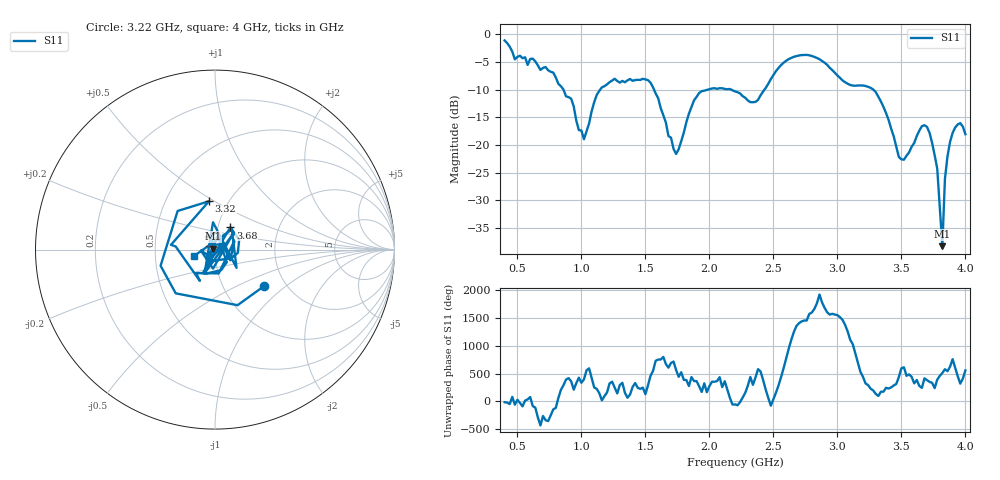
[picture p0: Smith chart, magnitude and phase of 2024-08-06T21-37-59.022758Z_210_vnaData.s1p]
!Created with skrf (http://scikit-rf.org).
# Hz S RI R 50.0
!freq ReS11 ImS11
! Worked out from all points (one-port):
!   181 points, 400 MHz to 4 GHz, reference 50 ohm
!   lowest |S11| = -38.3 dB at 3.82 GHz (marker M1), VSWR 1.02, Z = 48.9 + j0.572 ohm
!   |S11| at or under -10 dB: 859.7 MHz to 1.147 GHz (287.6 MHz wide, 28.7 % of centre); 1.567 GHz to 1.99 GHz (423.1 MHz wide, 23.8 % of centre); 3.28 GHz to end of sweep (the widest 3 of 4)
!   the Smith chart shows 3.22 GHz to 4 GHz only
!   S11 on the Smith chart (normalised r, x): 3.22 GHz: 1.55, -0.72; 3.32 GHz: 0.81, +0.47; 3.68 GHz: 1.15, +0.29; 4 GHz: 0.79, -0.06
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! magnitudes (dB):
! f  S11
! 400 MHz  -1.1
! 480 MHz  -4.5
! 620 MHz  -4.4
! 860 MHz  -10.0
! 1.02 GHz  -19.0
! 1.14 GHz  -10.2
! 1.3 GHz  -8.8
! 1.54 GHz  -8.8
! 1.72 GHz  -20.7
! 1.76 GHz  -20.8
! 1.92 GHz  -10.6
! 2.2 GHz  -10.3
! 2.36 GHz  -12.2
! 2.66 GHz  -4.1
! 2.86 GHz  -4.5
! 3.1 GHz  -9.2
! 3.22 GHz  -9.4
! 3.32 GHz  -11.3
! 3.48 GHz  -22.2
! 3.56 GHz  -21.4
! 3.68 GHz  -16.5
! 3.72 GHz  -17.8
! 3.78 GHz  -24.3
! 3.82 GHz  -38.3
! 3.84 GHz  -26.2
! 3.88 GHz  -19.5
! 3.96 GHz  -16.1
! 4 GHz  -18.1
